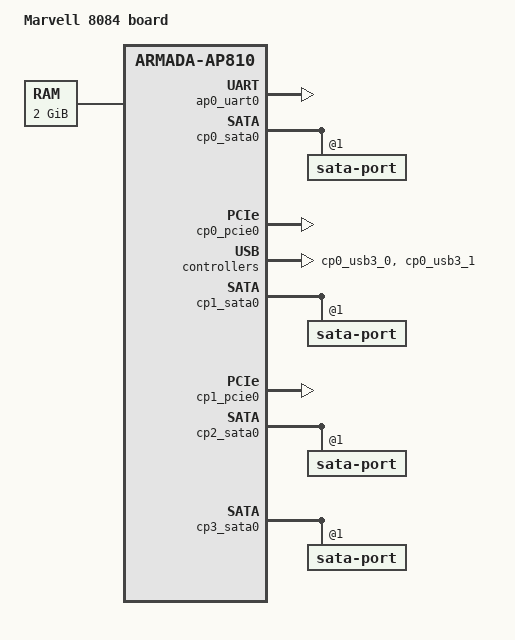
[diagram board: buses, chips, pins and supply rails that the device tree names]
// SPDX-License-Identifier: (GPL-2.0+ OR MIT)
/*
 * Copyright (C) 2018 Marvell Technology Group Ltd.
 *
 * Device Tree file for Marvell Armada-8084 Development board platform
 */

#include "armada-8084.dtsi"

/ {
	model = "Marvell 8084 board";
	compatible = "marvell,armada-8084-db", "marvell,armada-8084",
		     "marvell,armada-ap810-octa", "marvell,armada-ap810";

	chosen {
		stdout-path = "serial0:115200n8";
	};

	memory@00000000 {
		device_type = "memory";
		reg = <0x0 0x0 0x0 0x80000000>;
	};
};

&ap0_uart0 {
	clock-frequency = <200000000>;
	status = "okay";
};

&ap0_xor0 {
	status = "disabled";
};

&ap0_xor1 {
	status = "disabled";
};

&ap0_xor2 {
	status = "disabled";
};

&ap0_xor3 {
	status = "disabled";
};

&cp0_sata0 {
	status = "okay";
	sata-port@1 {
		reg = <1>;
		status = "okay";
	};
};

&cp0_pcie0 {
	status = "okay";
};

&cp0_usb3_0 {
	status = "okay";
};

&cp0_usb3_1 {
	status = "okay";
};

&cp1_sata0 {
	status = "okay";
	sata-port@1 {
		reg = <1>;
		status = "okay";
	};
};

&cp1_pcie0 {
	status = "okay";
};

&cp2_sata0 {
	status = "okay";
	sata-port@1 {
		reg = <1>;
		status = "okay";
	};
};

&cp3_sata0 {
	status = "okay";
	sata-port@1 {
		reg = <1>;
		status = "okay";
	};
};
